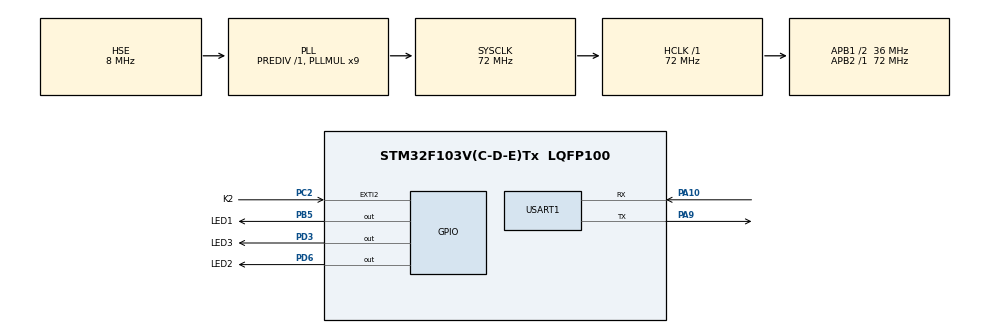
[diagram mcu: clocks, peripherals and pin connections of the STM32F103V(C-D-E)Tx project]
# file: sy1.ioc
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FREERTOS.Queues01=Message_Que,50,LED_Msg,0,Dynamic,NULL,NULL
FREERTOS.Tasks01=defaultTask,24,128,StartDefaultTask,Default,NULL,Dynamic,NULL,NULL;UartTask,8,128,StartUartTask,Default,NULL,Dynamic,NULL,NULL;LED1Task,8,128,StartLED1Task,Default,NULL,Dynamic,NULL,NULL;LED2Task,8,128,StartLED2Task,Default,NULL,Dynamic,NULL,NULL;LED3Task,8,128,StartLED3Task,Default,NULL,Dynamic,NULL,NULL
FREERTOS.configTOTAL_HEAP_SIZE=5120
Mcu.Family=STM32F1
Mcu.Name=STM32F103V(C-D-E)Tx
Mcu.Package=LQFP100
NVIC.EXTI2_IRQn=true\:5\:0\:false\:false\:true\:true\:true\:true\:true
NVIC.PriorityGroup=NVIC_PRIORITYGROUP_4
NVIC.TIM4_IRQn=true\:15\:0\:false\:false\:true\:false\:false\:true\:true
NVIC.TimeBase=TIM4_IRQn
NVIC.TimeBaseIP=TIM4
NVIC.USART1_IRQn=true\:5\:0\:false\:false\:true\:true\:true\:true\:true
OSC_IN.Mode=HSE-External-Oscillator
OSC_IN.Signal=RCC_OSC_IN
OSC_OUT.Mode=HSE-External-Oscillator
OSC_OUT.Signal=RCC_OSC_OUT
PA10.Mode=Asynchronous
PA10.Signal=USART1_RX
PA13.Mode=Serial_Wire
PA13.Signal=SYS_JTMS-SWDIO
PA14.Mode=Serial_Wire
PA14.Signal=SYS_JTCK-SWCLK
PA9.Mode=Asynchronous
PA9.Signal=USART1_TX
PB5.GPIO_Label=LED1
PB5.GPIO_Speed=GPIO_SPEED_FREQ_HIGH
PB5.Signal=GPIO_Output
PC2.GPIO_Label=K2
PC2.GPIO_ModeDefaultEXTI=GPIO_MODE_IT_FALLING
PC2.Signal=GPXTI2
PD3.GPIO_Label=LED3
PD3.GPIO_Speed=GPIO_SPEED_FREQ_HIGH
PD3.Signal=GPIO_Output
PD6.GPIO_Label=LED2
PD6.GPIO_Speed=GPIO_SPEED_FREQ_HIGH
PD6.Signal=GPIO_Output
ProjectManager.HeapSize=0x200
ProjectManager.StackSize=0x400
ProjectManager.TargetToolchain=MDK-ARM V5.32
RCC.AHBFreq_Value=72000000
RCC.APB1CLKDivider=RCC_HCLK_DIV2
RCC.APB1Freq_Value=36000000
RCC.APB1TimFreq_Value=72000000
RCC.APB2Freq_Value=72000000
RCC.APB2TimFreq_Value=72000000
RCC.HCLKFreq_Value=72000000
RCC.PLLMUL=RCC_PLL_MUL9
RCC.PLLSourceVirtual=RCC_PLLSOURCE_HSE
RCC.SYSCLKFreq_VALUE=72000000
RCC.SYSCLKSource=RCC_SYSCLKSOURCE_PLLCLK
RCC.USBFreq_Value=72000000
USART1.VirtualMode=VM_ASYNC
VP_FREERTOS_VS_CMSIS_V2.Mode=CMSIS_V2
VP_SYS_VS_tim4.Mode=TIM4
board=custom

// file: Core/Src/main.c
/* USER CODE BEGIN Header */
/**
  ******************************************************************************
  * @file           : main.c
  * @brief          : Main program body
  ******************************************************************************
  * @attention
  *
  * Copyright (c) 2026 STMicroelectronics.
  * All rights reserved.
  *
  * This software is licensed under terms that can be found in the LICENSE file
  * in the root directory of this software component.
  * If no LICENSE file comes with this software, it is provided AS-IS.
  *
  ******************************************************************************
  */
/* USER CODE END Header */
#include "main.h"
#include "cmsis_os.h"
#include "usart.h"
#include "gpio.h"

/* USER CODE BEGIN Includes */
#include <string.h>
#include <stdio.h>
#include <stdlib.h>
/* USER CODE END Includes */

/* USER CODE BEGIN PV */
extern osMessageQueueId_t Message_QueHandle;
/* USER CODE END PV */

void SystemClock_Config(void);
void MX_FREERTOS_Init(void);

/* USER CODE BEGIN 0 */
/* 消息结构：LED编号 + 频率(Hz) */
typedef struct {
    uint8_t led_num;    /* LED编号: 1, 2, 3 */
    float freq_hz;      /* 频率(Hz) */
} LED_Msg;

/* 运行状态控制 */
int8_t run = 1;            /* 运行状态 */

/* 串口接收相关 */
uint8_t rx_byte;           /* 单字节接收缓冲区 */
char rx_buf[16];           /* 数字缓冲区 */
uint8_t rx_index = 0;      /* 缓冲区索引 */
uint8_t rx_state = 0;      /* 接收状态：0=等待'L', 1=接收LED号, 2=等待'F', 3=接收频率 */
uint8_t led_num_temp = 0;  /* 临时存储LED编号 */

void HAL_UART_RxCpltCallback(UART_HandleTypeDef *huart)
{
  // 包结构: L<led>F<freq>\r\n 示例: L1F100\r\n 表示LED1频率100Hz
  if (huart->Instance == USART1)
  {
    if (rx_state == 0)
    {
      /* 等待接收 'L' (LED命令起始) */
      if (rx_byte == 'L')
      {
        rx_state = 1;
        rx_index = 0;
        memset(rx_buf, 0, sizeof(rx_buf));
      }
    }
    else if (rx_state == 1)
    {
      /* 接收LED编号 (1, 2, 3) */
      if (rx_byte >= '1' && rx_byte <= '3')
      {
        led_num_temp = rx_byte - '0';
        rx_state = 2;  /* 等待接收 'F' */
      }
      else
      {
        /* 无效字符，重置 */
        rx_state = 0;
      }
    }
    else if (rx_state == 2)
    {
      /* 等待接收 'F' */
      if (rx_byte == 'F')
      {
        rx_state = 3;
        rx_index = 0;
        memset(rx_buf, 0, sizeof(rx_buf));
      }
      else
      {
        /* 无效字符，重置 */
        rx_state = 0;
      }
    }
    else if (rx_state == 3)
    {
      /* 接收频率数字，直到收到回车或换行 */
      if (rx_byte == '\r' || rx_byte == '\n')
      {
        /* 解析频率 (Hz) */
        float freq_hz = atof(rx_buf);
        if (freq_hz >= 1.0f && freq_hz <= 1000.0f)
        {
          /* 发送消息到队列 */
          LED_Msg msg;
          msg.led_num = led_num_temp;
          msg.freq_hz = freq_hz;
          osMessageQueuePut(Message_QueHandle, &msg, 0, 0);

          char response[50];
          sprintf(response, "LED%d Freq: %.2f Hz\r\n", led_num_temp, freq_hz);
          HAL_UART_Transmit(&huart1, (uint8_t*)response, strlen(response), 100);
        }
        else
        {
          char msg[] = "Error: Freq must be 1~1000 Hz\r\n";
          HAL_UART_Transmit(&huart1, (uint8_t*)msg, strlen(msg), 100);
        }
        /* 重置状态 */
        rx_state = 0;
        rx_index = 0;
      }
      else if ((rx_byte >= '0' && rx_byte <= '9') || rx_byte == '.')
      {
        /* 收到数字或小数点字符 */
        if (rx_index < 15)
        {
          rx_buf[rx_index++] = rx_byte;
        }
      }
      else
      {
        /* 无效字符，重置 */
        rx_state = 0;
        rx_index = 0;
      }
    }
    /* 继续接收下一字节 */
    HAL_UART_Receive_IT(&huart1, &rx_byte, 1);
  }
}
/* USER CODE END 0 */

int main(void)
{

  /* MCU Configuration--------------------------------------------------------*/

  /* Reset of all peripherals, Initializes the Flash interface and the Systick. */
  HAL_Init();

  /* Configure the system clock */
  SystemClock_Config();

  /* Initialize all configured peripherals */
  MX_GPIO_Init();
  MX_USART1_UART_Init();
  /* USER CODE BEGIN 2 */
  HAL_UART_Receive_IT(&huart1, &rx_byte, 1);    // 上电初始一次接收
  /* USER CODE END 2 */

  /* Init scheduler */
  osKernelInitialize();  /* Call init function for freertos objects (in cmsis_os2.c) */
  MX_FREERTOS_Init();

  /* Start scheduler */
  osKernelStart();

  /* We should never get here as control is now taken by the scheduler */

  /* Infinite loop */
  while (1)
  {

  }
}

void SystemClock_Config(void)
{
  RCC_OscInitTypeDef RCC_OscInitStruct = {0};
  RCC_ClkInitTypeDef RCC_ClkInitStruct = {0};

  /** Initializes the RCC Oscillators according to the specified parameters
  * in the RCC_OscInitTypeDef structure.
  */
  RCC_OscInitStruct.OscillatorType = RCC_OSCILLATORTYPE_HSE;
  RCC_OscInitStruct.HSEState = RCC_HSE_ON;
  RCC_OscInitStruct.HSEPredivValue = RCC_HSE_PREDIV_DIV1;
  RCC_OscInitStruct.HSIState = RCC_HSI_ON;
  RCC_OscInitStruct.PLL.PLLState = RCC_PLL_ON;
  RCC_OscInitStruct.PLL.PLLSource = RCC_PLLSOURCE_HSE;
  RCC_OscInitStruct.PLL.PLLMUL = RCC_PLL_MUL9;
  if (HAL_RCC_OscConfig(&RCC_OscInitStruct) != HAL_OK)
  {
    Error_Handler();
  }

  /** Initializes the CPU, AHB and APB buses clocks
  */
  RCC_ClkInitStruct.ClockType = RCC_CLOCKTYPE_HCLK|RCC_CLOCKTYPE_SYSCLK
                              |RCC_CLOCKTYPE_PCLK1|RCC_CLOCKTYPE_PCLK2;
  RCC_ClkInitStruct.SYSCLKSource = RCC_SYSCLKSOURCE_PLLCLK;
  RCC_ClkInitStruct.AHBCLKDivider = RCC_SYSCLK_DIV1;
  RCC_ClkInitStruct.APB1CLKDivider = RCC_HCLK_DIV2;
  RCC_ClkInitStruct.APB2CLKDivider = RCC_HCLK_DIV1;

  if (HAL_RCC_ClockConfig(&RCC_ClkInitStruct, FLASH_LATENCY_2) != HAL_OK)
  {
    Error_Handler();
  }
}

void HAL_TIM_PeriodElapsedCallback(TIM_HandleTypeDef *htim)
{
  if (htim->Instance == TIM4)
  {
    HAL_IncTick();
  }
}

void Error_Handler(void)
{
  __disable_irq();
  while (1)
  {
  }
}

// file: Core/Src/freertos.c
/* USER CODE BEGIN Header */
/**
  ******************************************************************************
  * File Name          : freertos.c
  * Description        : Code for freertos applications
  ******************************************************************************
  * @attention
  *
  * Copyright (c) 2026 STMicroelectronics.
  * All rights reserved.
  *
  * This software is licensed under terms that can be found in the LICENSE file
  * in the root directory of this software component.
  * If no LICENSE file comes with this software, it is provided AS-IS.
  *
  ******************************************************************************
  */
/* USER CODE END Header */

#include "FreeRTOS.h"
#include "task.h"
#include "main.h"
#include "cmsis_os.h"

/* USER CODE BEGIN Includes */
#include <string.h>
#include <stdio.h>
#include <stdlib.h>
/* USER CODE END Includes */

/* USER CODE BEGIN Variables */
/* 消息结构：LED编号 + 频率(Hz) */
typedef struct {
    uint8_t led_num;    /* LED编号: 1, 2, 3 */
    float freq_hz;      /* 频率(Hz) */
} LED_Msg;

/* LED频率变量 */
float led1_freq = 1.0f;
float led2_freq = 1.0f;
float led3_freq = 1.0f;

/* 外部变量声明（在main.c中定义） */

/* USER CODE END Variables */
/* Definitions for defaultTask */
osThreadId_t defaultTaskHandle;
const osThreadAttr_t defaultTask_attributes = {
  .name = "defaultTask",
  .stack_size = 128 * 4,
  .priority = (osPriority_t) osPriorityLow,
};
/* Definitions for UartTask */
osThreadId_t UartTaskHandle;
const osThreadAttr_t UartTask_attributes = {
  .name = "UartTask",
  .stack_size = 128 * 4,
  .priority = (osPriority_t) osPriorityLow,
};
/* Definitions for LED1Task */
osThreadId_t LED1TaskHandle;
const osThreadAttr_t LED1Task_attributes = {
  .name = "LED1Task",
  .stack_size = 128 * 4,
  .priority = (osPriority_t) osPriorityLow,
};
/* Definitions for LED2Task */
osThreadId_t LED2TaskHandle;
const osThreadAttr_t LED2Task_attributes = {
  .name = "LED2Task",
  .stack_size = 128 * 4,
  .priority = (osPriority_t) osPriorityLow,
};
/* Definitions for LED3Task */
osThreadId_t LED3TaskHandle;
const osThreadAttr_t LED3Task_attributes = {
  .name = "LED3Task",
  .stack_size = 128 * 4,
  .priority = (osPriority_t) osPriorityLow,
};
/* Definitions for Message_Que */
osMessageQueueId_t Message_QueHandle;
const osMessageQueueAttr_t Message_Que_attributes = {
  .name = "Message_Que"
};

void StartDefaultTask(void *argument);
void StartUartTask(void *argument);
void StartLED1Task(void *argument);
void StartLED2Task(void *argument);
void StartLED3Task(void *argument);

void MX_FREERTOS_Init(void); /* (MISRA C 2004 rule 8.1) */

void MX_FREERTOS_Init(void) {

  /* Create the queue(s) */
  /* creation of Message_Que - 使用LED_Msg结构体作为消息 */
  Message_QueHandle = osMessageQueueNew (10, sizeof(LED_Msg), &Message_Que_attributes);

  /* Create the thread(s) */
  /* creation of defaultTask */
  defaultTaskHandle = osThreadNew(StartDefaultTask, NULL, &defaultTask_attributes);

  /* creation of UartTask */
  UartTaskHandle = osThreadNew(StartUartTask, NULL, &UartTask_attributes);

  /* creation of LED1Task */
  LED1TaskHandle = osThreadNew(StartLED1Task, NULL, &LED1Task_attributes);

  /* creation of LED2Task */
  LED2TaskHandle = osThreadNew(StartLED2Task, NULL, &LED2Task_attributes);

  /* creation of LED3Task */
  LED3TaskHandle = osThreadNew(StartLED3Task, NULL, &LED3Task_attributes);

}

void StartDefaultTask(void *argument)
{
  for(;;)
  {
    osDelay(1);
  }
}

void StartUartTask(void *argument)
{
  /* USER CODE BEGIN StartUartTask */
  LED_Msg received_msg;
  osStatus_t status;

  /* Infinite loop */
  for(;;)
  {
    /* 从消息队列接收消息 */
    status = osMessageQueueGet(Message_QueHandle, &received_msg, NULL, osWaitForever);

    if (status == osOK)
    {
      /* 根据LED编号更新对应的频率 */
      switch(received_msg.led_num)
      {
        case 1:
          led1_freq = received_msg.freq_hz;
          break;
        case 2:
          led2_freq = received_msg.freq_hz;
          break;
        case 3:
          led3_freq = received_msg.freq_hz;
          break;
      }
    }
    osDelay(10);
  }
  /* USER CODE END StartUartTask */
}

void StartLED1Task(void *argument)
{
  /* USER CODE BEGIN StartLED1Task */
  uint32_t delay_ms;

  /* Infinite loop */
  for(;;)
  {
    /* 计算半周期延时时间（亮和灭各占一半周期） */
    delay_ms = (uint32_t)(500.0f / led1_freq);

    /* LED1闪烁 */
    HAL_GPIO_WritePin(LED1_GPIO_Port, LED1_Pin, GPIO_PIN_SET);
    osDelay(delay_ms);
    HAL_GPIO_WritePin(LED1_GPIO_Port, LED1_Pin, GPIO_PIN_RESET);
    osDelay(delay_ms);
  }
  /* USER CODE END StartLED1Task */
}

void StartLED2Task(void *argument)
{
  /* USER CODE BEGIN StartLED2Task */
  uint32_t delay_ms;

  /* Infinite loop */
  for(;;)
  {
    /* 计算半周期延时时间（亮和灭各占一半周期） */
    delay_ms = (uint32_t)(500.0f / led2_freq);

    /* LED2闪烁 */
    HAL_GPIO_WritePin(GPIOD, LED2_Pin, GPIO_PIN_SET);
    osDelay(delay_ms);
    HAL_GPIO_WritePin(GPIOD, LED2_Pin, GPIO_PIN_RESET);
    osDelay(delay_ms);
  }
  /* USER CODE END StartLED2Task */
}

void StartLED3Task(void *argument)
{
  /* USER CODE BEGIN StartLED3Task */
  uint32_t delay_ms;

  /* Infinite loop */
  for(;;)
  {
    /* 计算半周期延时时间（亮和灭各占一半周期） */
    delay_ms = (uint32_t)(500.0f / led3_freq);

    /* LED3闪烁 */
    HAL_GPIO_WritePin(GPIOD, LED3_Pin, GPIO_PIN_SET);
    osDelay(delay_ms);
    HAL_GPIO_WritePin(GPIOD, LED3_Pin, GPIO_PIN_RESET);
    osDelay(delay_ms);
  }
  /* USER CODE END StartLED3Task */
}
